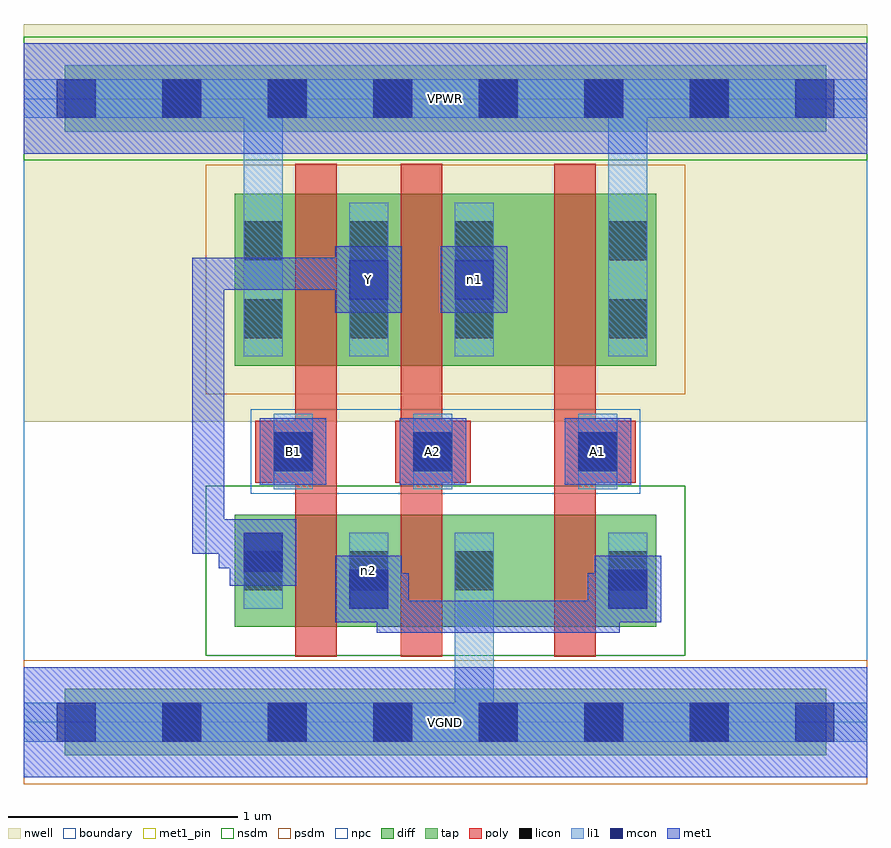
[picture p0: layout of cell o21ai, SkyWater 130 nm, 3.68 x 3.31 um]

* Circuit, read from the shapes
.subckt o21ai A1 A2 B1 VGND VPWR Y n1 n2
XM1 n2 B1 Y VGND sky130_fd_pr__nfet_01v8 w=0.49 l=0.18
XM2 VGND A2 n2 VGND sky130_fd_pr__nfet_01v8 w=0.49 l=0.18
XM3 n2 A1 VGND VGND sky130_fd_pr__nfet_01v8 w=0.49 l=0.18
XM4 Y B1 VPWR VPWR sky130_fd_pr__pfet_01v8 w=0.75 l=0.18
XM5 n1 A2 Y VPWR sky130_fd_pr__pfet_01v8 w=0.75 l=0.18
XM6 VPWR A1 n1 VPWR sky130_fd_pr__pfet_01v8 w=0.75 l=0.18
.ends

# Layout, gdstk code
import gdstk
lib = gdstk.Library(unit=1e-6, precision=1e-09)
def R(c, l, rs):  # rectangles x0, y0, x1, y1
    for r in rs: c.add(gdstk.rectangle(r[:2], r[2:], *l))
def A(c, l, x, y, w, h, nx, ny, dx, dy):  # array of equal rectangles
    R(c, l, [(x+i*dx, y+j*dy, x+i*dx+w, y+j*dy+h) for i in range(nx) for j in range(ny)])
nwell = (64, 20)
diff = (65, 20)
tap = (65, 44)
poly = (66, 20)
licon = (66, 44)
li1 = (67, 20)
mcon = (67, 44)
met1_pin = (68, 16)
met1 = (68, 20)
nsdm = (93, 44)
psdm = (94, 20)
npc = (95, 20)
boundary = (235, 4)

o21ai = lib.new_cell('o21ai')
R(o21ai, nwell, [(0,1.31,3.68,3.045)])
R(o21ai, diff, [(0.92,0.415,2.76,0.905), (0.92,1.555,2.76,2.305)])
R(o21ai, tap, [(0.18,-0.145,3.5,0.145), (0.18,2.575,3.5,2.865)])
R(o21ai, poly, [(1.185,0.285,1.365,2.435), (1.645,0.285,1.825,2.435), (2.315,0.285,2.495,2.435), (1.01,1.045,1.34,1.315), (1.62,1.045,1.95,1.315), (2.34,1.045,2.67,1.315)])
A(o21ai, licon, 0.605, -0.085, 0.17, 0.17, 6, 2, 0.46, 2.72)
A(o21ai, licon, 0.96, 0.575, 0.17, 0.17, 3, 2, 0.46, 1.1)
A(o21ai, licon, 0.96, 2.015, 0.17, 0.17, 3, 1, 0.46, 0)
R(o21ai, licon, [(2.55,0.575,2.72,0.745), (1.09,1.095,1.26,1.265), (1.7,1.095,1.87,1.265), (2.42,1.095,2.59,1.265), (2.55,1.675,2.72,1.845), (2.55,2.015,2.72,2.185)])
A(o21ai, li1, 0.96, 0.495, 0.17, 0.33, 3, 1, 0.46, 0)
A(o21ai, li1, 0.96, 1.595, 0.17, 0.67, 3, 1, 0.46, 0)
R(o21ai, li1, [(0,-0.085,3.68,0.085), (1.88,-0.085,2.05,0.825), (2.55,0.495,2.72,0.825), (1.09,1.015,1.26,1.345), (1.7,1.015,1.87,1.345), (2.42,1.015,2.59,1.345), (0.96,1.595,1.13,2.805), (2.55,1.595,2.72,2.265), (2.55,1.595,2.72,2.805), (0,2.635,3.68,2.805)])
A(o21ai, mcon, 0.145, -0.085, 0.17, 0.17, 8, 2, 0.46, 2.72)
R(o21ai, mcon, [(1.42,0.495,1.59,0.665), (2.55,0.495,2.72,0.665), (0.96,0.655,1.13,0.825), (1.09,1.095,1.26,1.265), (1.7,1.095,1.87,1.265), (2.42,1.095,2.59,1.265), (1.42,1.845,1.59,2.015), (1.88,1.845,2.05,2.015)])
R(o21ai, met1_pin, [(0,-0.24,3.68,0.24), (1.03,1.035,1.32,1.325), (1.64,1.035,1.93,1.325), (2.36,1.035,2.65,1.325), (1.36,1.785,1.65,2.075), (0,2.48,3.68,2.96)])
R(o21ai, met1, [(0,-0.24,3.68,0.24), (1.54,0.39,1.68,0.65), (1.54,0.39,2.6,0.53), (2.46,0.39,2.6,0.65), (1.36,0.435,1.65,0.725), (2.49,0.435,2.78,0.725), (1.435,0.51,1.68,0.65), (2.46,0.51,2.705,0.65), (0.9,0.595,1.19,0.885), (0.85,0.67,1.115,0.81), (0.85,0.67,0.99,0.875), (0.735,0.735,0.875,2.025), (0.735,0.735,0.99,0.875), (0.875,0.735,0.9,0.885), (0.875,0.735,0.9,0.885), (0.875,0.735,0.9,0.885), (0.875,0.735,0.9,0.885), (0.875,0.735,0.9,0.885), (0.875,0.735,0.9,0.885), (1.03,1.035,1.32,1.325), (1.64,1.035,1.93,1.325), (2.36,1.035,2.65,1.325), (1.36,1.785,1.65,2.075), (1.82,1.785,2.11,2.075), (0.735,1.885,1.565,2.025), (1.425,1.885,1.565,2.025), (0,2.48,3.68,2.96)])
R(o21ai, nsdm, [(0.795,0.29,2.885,1.03), (0,2.45,3.68,2.99)])
R(o21ai, psdm, [(0,-0.27,3.68,0.27), (0.795,1.43,2.885,2.43)])
R(o21ai, npc, [(0.99,0.995,2.69,1.365)])
R(o21ai, boundary, [(0,0,3.68,2.72)])
o21ai.add(gdstk.Label('n2', (1.505,0.66), layer=67, texttype=5))
o21ai.add(gdstk.Label('n1', (1.965,1.93), layer=67, texttype=5))
o21ai.add(gdstk.Label('A1', (2.505,1.18), layer=68, texttype=5))
o21ai.add(gdstk.Label('A2', (1.785,1.18), layer=68, texttype=5))
o21ai.add(gdstk.Label('B1', (1.175,1.18), layer=68, texttype=5))
o21ai.add(gdstk.Label('Y', (1.505,1.93), layer=68, texttype=5))
o21ai.add(gdstk.Label('VPWR', (1.84,2.72), layer=68, texttype=5))
o21ai.add(gdstk.Label('VGND', (1.84,0), layer=68, texttype=5))
o21ai.add(gdstk.Label('A1', (2.505,1.18), layer=68, texttype=16))
o21ai.add(gdstk.Label('A2', (1.785,1.18), layer=68, texttype=16))
o21ai.add(gdstk.Label('B1', (1.175,1.18), layer=68, texttype=16))
o21ai.add(gdstk.Label('Y', (1.505,1.93), layer=68, texttype=16))
o21ai.add(gdstk.Label('VPWR', (1.84,2.72), layer=68, texttype=16))
o21ai.add(gdstk.Label('VGND', (1.84,0), layer=68, texttype=16))

lib.write_gds('o21ai.gds')
